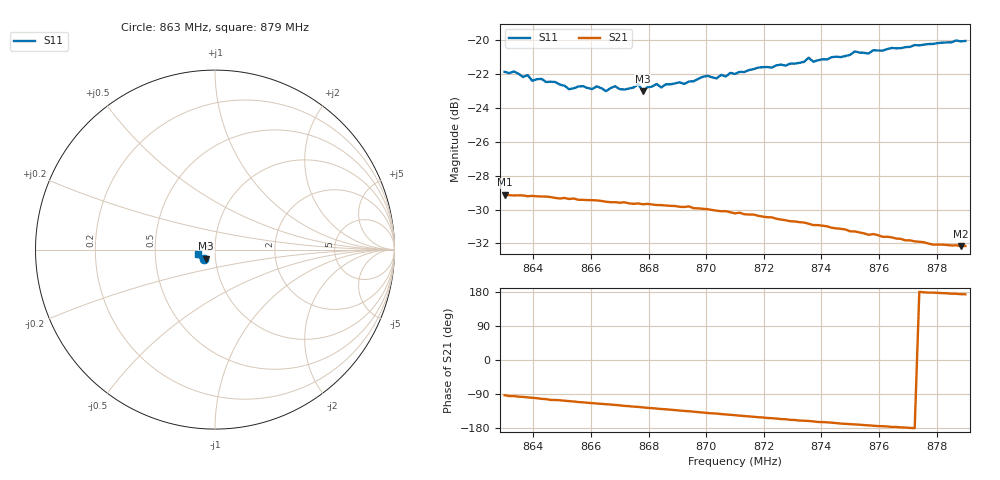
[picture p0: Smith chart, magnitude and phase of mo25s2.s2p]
# HZ S RI R 50
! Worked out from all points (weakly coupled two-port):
!   101 points, 863 MHz to 879 MHz, reference 50 ohm
!   highest |S21| = -29.12 dB at 863 MHz (marker M1); lowest = -32.2 dB at 878.84 MHz (marker M2)
!   lowest |S11| = -23.0 dB at 867.8 MHz (marker M3), VSWR 1.15, Z = 45 - j4.52 ohm
!   |S11| at or under -10 dB: start of sweep to end of sweep
!   S12 and S22 are empty: the file has one direction only
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8.63e8  -0.0605 -0.0532  -0.00179 -0.0349  0 0  0 0
8.638e8  -0.0585 -0.0529  -0.00521 -0.0342  0 0  0 0
8.6396e8  -0.0563 -0.0508  -0.00588 -0.0342  0 0  0 0
8.6476e8  -0.0551 -0.0512  -0.00916 -0.033  0 0  0 0
8.6524e8  -0.0518 -0.0495  -0.0108 -0.0322  0 0  0 0
8.6572e8  -0.0517 -0.0518  -0.0125 -0.0314  0 0  0 0
8.6652e8  -0.0502 -0.0498  -0.015 -0.0298  0 0  0 0
8.6764e8  -0.0526 -0.0522  -0.0184 -0.0274  0 0  0 0
8.678e8  -0.0501 -0.0499  -0.0188 -0.0269  0 0  0 0
8.6828e8  -0.052 -0.053  -0.0202 -0.0256  0 0  0 0
8.6844e8  -0.05 -0.0525  -0.0207 -0.0252  0 0  0 0
8.7004e8  -0.0549 -0.0561  -0.0243 -0.0205  0 0  0 0
8.7036e8  -0.0542 -0.0548  -0.0245 -0.0196  0 0  0 0
8.71e8  -0.0579 -0.0544  -0.0254 -0.0174  0 0  0 0
8.7324e8  -0.0675 -0.0528  -0.0272 -0.01  0 0  0 0
8.7356e8  -0.071 -0.0532  -0.0271 -0.0094  0 0  0 0
8.7372e8  -0.0682 -0.053  -0.0271 -0.00875  0 0  0 0
8.7516e8  -0.079 -0.0483  -0.0268 -0.00473  0 0  0 0
8.7564e8  -0.0789 -0.0458  -0.0264 -0.00349  0 0  0 0
8.7644e8  -0.0852 -0.0416  -0.0261 -0.00151  0 0  0 0
8.7884e8  -0.0958 -0.0255  -0.0245 0.0027  0 0  0 0
8.79e8  -0.0964 -0.0243  -0.0245 0.00285  0 0  0 0
